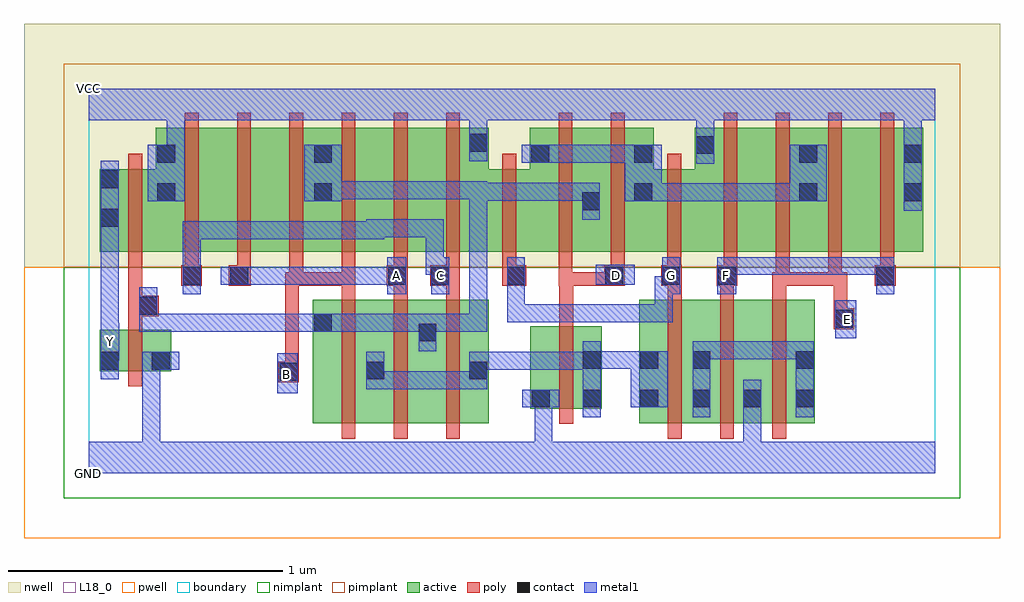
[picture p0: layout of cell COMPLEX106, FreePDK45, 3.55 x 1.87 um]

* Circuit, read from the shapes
.subckt COMPLEX106 A B C D E F G GND VCC Y
M1 GND n1 Y VSUBS nfet w=0.15u l=0.05u
M2 n2 B n1 VSUBS nfet w=0.45u l=0.05u
M3 n1 A n2 VSUBS nfet w=0.45u l=0.05u
M4 n2 C n1 VSUBS nfet w=0.45u l=0.05u
M5 n2 D GND VSUBS nfet w=0.3u l=0.05u
M6 n3 G n2 VSUBS nfet w=0.45u l=0.05u
M7 GND F n3 VSUBS nfet w=0.45u l=0.05u
M8 n3 E GND VSUBS nfet w=0.45u l=0.05u
M9 VCC n1 Y n4 pfet w=0.3u l=0.05u
M10 n5 C VCC n4 pfet w=0.45u l=0.05u
M11 n6 A n5 n4 pfet w=0.45u l=0.05u
M12 n1 B n6 n4 pfet w=0.45u l=0.05u
M13 n7 B n1 n4 pfet w=0.45u l=0.05u
M14 n8 A n7 n4 pfet w=0.45u l=0.05u
M15 VCC C n8 n4 pfet w=0.45u l=0.05u
M16 n9 G VCC n4 pfet w=0.3u l=0.05u m=2
M17 n1 D n9 n4 pfet w=0.45u l=0.05u m=2
M18 n10 F VCC n4 pfet w=0.45u l=0.05u
M19 n9 E n10 n4 pfet w=0.45u l=0.05u
M20 n11 E n9 n4 pfet w=0.45u l=0.05u
M21 VCC F n11 n4 pfet w=0.45u l=0.05u
.ends

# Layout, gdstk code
import gdstk
lib = gdstk.Library(unit=1e-6, precision=1e-09)
def R(c, l, rs):  # rectangles x0, y0, x1, y1
    for r in rs: c.add(gdstk.rectangle(r[:2], r[2:], *l))
def A(c, l, x, y, w, h, nx, ny, dx, dy):  # array of equal rectangles
    R(c, l, [(x+i*dx, y+j*dy, x+i*dx+w, y+j*dy+h) for i in range(nx) for j in range(ny)])
active = (1, 0)
pwell = (2, 0)
nwell = (3, 0)
nimplant = (4, 0)
pimplant = (5, 0)
poly = (9, 0)
contact = (10, 0)
metal1 = (11, 0)
L18_0 = (18, 0)
boundary = (235, 0)

complex106 = lib.new_cell('COMPLEX106')
R(complex106, active, [(0.815,0.182,1.08,0.632), (1.005,0.182,1.27,0.632), (1.195,0.182,1.455,0.632), (2.002,0.182,2.267,0.632), (2.192,0.182,2.452,0.632), (2.377,0.182,2.642,0.632), (2.377,0.182,2.452,0.542), (0.815,0.2,0.89,0.632), (1.005,0.2,1.08,0.542), (1.38,0.2,1.455,0.632), (2.002,0.2,2.077,0.632), (2.192,0.2,2.267,0.542), (2.567,0.2,2.642,0.632), (1.607,0.235,1.867,0.535), (1.607,0.235,1.682,0.392), (1.792,0.235,1.867,0.535), (1.195,0.245,1.27,0.55), (0.04,0.372,0.115,0.522), (0.04,0.372,0.3,0.522), (0.225,0.372,0.3,0.522), (0.04,0.807,0.115,1.107), (0.04,0.807,0.32,1.107), (0.245,0.807,0.47,1.257), (0.245,0.807,0.32,1.2), (0.47,0.807,0.66,1.257), (0.66,0.807,0.89,1.257), (0.815,0.807,1.04,1.257), (0.815,0.807,0.89,1.2), (1.04,0.807,1.23,1.257), (1.23,0.807,1.455,1.257), (1.38,0.807,1.68,1.107), (1.605,0.807,1.865,1.257), (1.605,0.807,1.68,1.2), (1.79,0.807,2.055,1.257), (1.79,0.807,1.865,1.07), (1.98,0.807,2.055,1.2), (1.98,0.807,2.28,1.107), (2.205,0.807,2.43,1.257), (2.43,0.807,2.655,1.257), (2.58,0.807,2.81,1.257), (2.58,0.807,2.655,1.2), (2.81,0.807,3.035,1.257), (2.96,0.807,3.035,1.257), (1.38,0.852,1.455,1.24), (2.205,0.852,2.28,1.257)])
R(complex106, pwell, [(-0.235,-0.235,3.315,0.75)])
R(complex106, nwell, [(-0.235,0.75,3.315,1.635)])
R(complex106, nimplant, [(-0.09,-0.09,3.17,0.75)])
R(complex106, pimplant, [(-0.09,0.75,3.17,1.49)])
A(complex106, poly, 0.92, 0.127, 0.05, 0.56, 3, 1, 0.19, 0)
A(complex106, poly, 2.107, 0.127, 0.05, 0.56, 3, 1, 0.19, 0)
A(complex106, poly, 0.92, 0.637, 0.05, 0.095, 3, 1, 0.19, 0)
A(complex106, poly, 2.107, 0.637, 0.05, 0.095, 3, 1, 0.19, 0)
A(complex106, poly, 0.92, 0.682, 0.05, 0.12, 3, 1, 0.79, 0)
A(complex106, poly, 1.9, 0.707, 0.05, 0.095, 3, 1, 0.205, 0)
A(complex106, poly, 0.35, 0.752, 0.05, 0.56, 6, 1, 0.19, 0)
A(complex106, poly, 2.31, 0.752, 0.05, 0.56, 4, 1, 0.19, 0)
R(complex106, poly, [(1.712,0.18,1.762,0.59), (0.145,0.317,0.195,0.577), (0.69,0.332,0.765,0.407), (0.715,0.357,0.765,0.732), (2.71,0.525,2.785,0.6), (0.145,0.527,0.195,0.622), (1.712,0.54,1.762,0.732), (2.71,0.55,2.76,0.732), (0.145,0.572,0.255,0.647), (0.145,0.597,0.195,0.802), (0.337,0.682,0.412,0.757), (0.51,0.682,0.59,0.757), (0.715,0.682,0.765,0.732), (0.715,0.682,0.765,0.732), (0.715,0.682,0.78,0.732), (0.73,0.682,0.78,0.802), (0.73,0.682,0.78,0.732), (0.73,0.682,0.78,0.732), (0.73,0.682,0.97,0.732), (0.92,0.682,0.97,0.732), (1.085,0.682,1.16,0.757), (1.242,0.682,1.35,0.757), (1.505,0.682,1.592,0.757), (1.71,0.682,1.762,0.732), (1.712,0.682,1.925,0.732), (1.875,0.682,1.95,0.757), (1.875,0.682,1.925,0.732), (1.875,0.682,1.925,0.732), (2.082,0.682,2.157,0.757), (2.285,0.682,2.36,0.757), (2.487,0.682,2.55,0.732), (2.5,0.682,2.74,0.732), (2.69,0.682,2.74,0.802), (2.69,0.682,2.74,0.732), (2.69,0.682,2.74,0.732), (2.69,0.682,2.74,0.732), (2.69,0.682,2.74,0.732), (2.69,0.682,2.76,0.732), (2.86,0.682,2.935,0.757), (0.35,0.707,0.4,0.802), (0.54,0.707,0.59,0.802), (1.11,0.707,1.16,0.802), (1.3,0.707,1.35,0.802), (1.505,0.707,1.555,0.802), (2.88,0.707,2.93,0.802), (0.145,0.752,0.195,1.162), (1.505,0.752,1.555,1.162), (1.71,0.752,1.76,1.312), (1.9,0.752,1.95,1.312), (2.105,0.752,2.155,1.162)])
R(complex106, contact, [(1.612,0.24,1.677,0.305), (1.797,0.24,1.862,0.305), (2.007,0.24,2.072,0.305), (2.197,0.24,2.262,0.305), (2.382,0.24,2.447,0.305), (2.572,0.24,2.637,0.305), (0.695,0.337,0.76,0.402), (1.01,0.342,1.075,0.407), (1.385,0.342,1.45,0.407), (0.045,0.377,0.11,0.442), (0.23,0.377,0.295,0.442), (1.797,0.38,1.862,0.445), (2.007,0.38,2.072,0.445), (2.197,0.38,2.262,0.445), (2.572,0.38,2.637,0.445), (1.2,0.48,1.265,0.545), (0.82,0.515,0.885,0.58), (2.715,0.53,2.78,0.595), (0.185,0.577,0.25,0.642), (0.342,0.687,0.407,0.752), (0.515,0.687,0.58,0.752), (1.09,0.687,1.155,0.752), (1.247,0.687,1.312,0.752), (1.522,0.687,1.587,0.752), (1.88,0.687,1.945,0.752), (2.087,0.687,2.152,0.752), (2.29,0.687,2.355,0.752), (2.865,0.687,2.93,0.752), (0.045,0.897,0.11,0.962), (1.795,0.957,1.86,1.022), (0.25,0.99,0.315,1.055), (0.82,0.99,0.885,1.055), (1.985,0.99,2.05,1.055), (2.585,0.99,2.65,1.055), (2.965,0.99,3.03,1.055), (0.045,1.037,0.11,1.102), (0.25,1.13,0.315,1.195), (0.82,1.13,0.885,1.195), (1.61,1.13,1.675,1.195), (1.985,1.13,2.05,1.195), (2.585,1.13,2.65,1.195), (2.965,1.13,3.03,1.195), (2.21,1.162,2.275,1.227), (1.385,1.17,1.45,1.235)])
R(complex106, metal1, [(0,0,3.08,0.115), (0.195,0.05,0.26,0.115), (0.195,0.05,0.26,0.115), (0.195,0.05,0.26,0.442), (1.622,0.05,1.687,0.115), (1.622,0.05,1.687,0.115), (1.622,0.05,1.687,0.305), (2.382,0.05,2.447,0.115), (2.382,0.05,2.447,0.115), (2.382,0.05,2.447,0.27), (1.797,0.205,1.862,0.48), (2.197,0.205,2.262,0.48), (2.382,0.205,2.447,0.34), (2.572,0.205,2.637,0.48), (1.577,0.24,1.712,0.305), (1.622,0.24,1.687,0.305), (1.622,0.24,1.687,0.305), (1.972,0.24,2.107,0.445), (0.687,0.292,0.76,0.437), (1.01,0.307,1.075,0.442), (1.01,0.307,1.075,0.372), (1.01,0.307,1.075,0.372), (1.01,0.307,1.292,0.372), (1.227,0.307,1.292,0.372), (1.227,0.307,1.292,0.372), (1.227,0.307,1.292,0.372), (1.227,0.307,1.45,0.372), (1.385,0.307,1.45,0.442), (0.045,0.342,0.11,0.477), (0.195,0.377,0.26,0.442), (0.195,0.377,0.26,0.442), (0.195,0.377,0.26,0.442), (0.195,0.377,0.26,0.442), (0.195,0.377,0.33,0.442), (1.385,0.377,1.587,0.442), (1.522,0.377,1.587,0.442), (1.522,0.377,1.587,0.442), (1.522,0.377,1.587,0.442), (1.522,0.377,1.725,0.442), (1.66,0.377,1.725,0.442), (1.66,0.377,1.862,0.442), (1.797,0.38,1.862,0.445), (1.797,0.38,1.862,0.445), (1.797,0.38,2.037,0.445), (0.045,0.412,0.11,0.477), (0.045,0.412,0.112,0.547), (2.197,0.415,2.477,0.48), (2.412,0.415,2.477,0.48), (2.412,0.415,2.477,0.48), (2.412,0.415,2.477,0.48), (2.412,0.415,2.637,0.48), (2.572,0.415,2.637,0.48), (2.572,0.415,2.637,0.48), (1.2,0.445,1.265,0.58), (0.045,0.482,0.11,0.927), (2.715,0.492,2.792,0.63), (0.185,0.515,0.25,0.58), (0.185,0.515,0.387,0.58), (0.185,0.515,0.25,0.607), (0.322,0.515,0.387,0.58), (0.322,0.515,0.387,0.58), (0.322,0.515,0.387,0.58), (0.322,0.515,0.615,0.58), (0.55,0.515,0.615,0.58), (0.55,0.515,0.615,0.58), (0.55,0.515,0.615,0.58), (0.55,0.515,0.762,0.58), (0.697,0.515,0.762,0.58), (0.697,0.515,0.85,0.58), (0.785,0.515,0.92,0.58), (0.855,0.515,0.92,0.58), (0.855,0.515,0.92,0.58), (0.855,0.515,1.127,0.58), (1.062,0.515,1.127,0.58), (1.062,0.515,1.127,0.58), (1.062,0.515,1.127,0.58), (1.062,0.515,1.265,0.58), (1.2,0.515,1.45,0.58), (1.385,0.515,1.45,0.58), (1.385,0.515,1.45,0.58), (1.385,0.515,1.45,0.58), (1.385,0.515,1.45,0.58), (1.385,0.515,1.45,0.58), (1.385,0.515,1.45,1.057), (0.185,0.542,0.25,0.677), (0.185,0.542,0.25,0.607), (0.185,0.542,0.25,0.607), (1.522,0.55,1.587,0.615), (1.522,0.55,1.725,0.615), (1.522,0.55,1.587,0.717), (1.66,0.55,1.725,0.615), (1.66,0.55,1.877,0.615), (1.812,0.55,1.877,0.615), (1.812,0.55,1.965,0.615), (1.9,0.55,1.965,0.615), (1.9,0.55,2.125,0.615), (2.06,0.55,2.125,0.615), (2.06,0.55,2.125,0.717), (0.342,0.652,0.407,0.787), (1.087,0.652,1.155,0.787), (1.247,0.652,1.312,0.787), (1.522,0.652,1.587,0.787), (1.522,0.652,1.587,0.717), (1.522,0.652,1.587,0.717), (2.06,0.652,2.125,0.717), (2.06,0.652,2.152,0.717), (2.087,0.652,2.152,0.787), (2.287,0.652,2.355,0.787), (2.865,0.652,2.93,0.787), (0.48,0.687,0.615,0.752), (0.55,0.687,0.615,0.752), (0.55,0.687,0.615,0.752), (0.55,0.687,0.782,0.752), (0.717,0.687,0.782,0.752), (0.717,0.687,0.782,0.752), (0.717,0.687,0.782,0.752), (0.717,0.687,0.92,0.752), (0.855,0.687,0.92,0.752), (0.855,0.687,1.057,0.752), (0.992,0.687,1.057,0.752), (0.992,0.687,1.152,0.752), (1.845,0.687,1.987,0.76), (0.342,0.722,0.407,0.787), (0.342,0.722,0.407,0.787), (0.342,0.722,0.407,0.917), (1.227,0.722,1.292,0.787), (1.227,0.722,1.312,0.787), (1.227,0.722,1.292,0.925), (2.29,0.722,2.455,0.787), (2.39,0.722,2.455,0.787), (2.39,0.722,2.615,0.787), (2.55,0.722,2.615,0.787), (2.55,0.722,2.615,0.787), (2.55,0.722,2.615,0.787), (2.55,0.722,2.775,0.787), (2.71,0.722,2.93,0.787), (2.71,0.722,2.775,0.787), (2.71,0.722,2.775,0.787), (2.71,0.722,2.775,0.787), (0.342,0.852,0.407,0.917), (0.342,0.852,0.545,0.917), (0.48,0.852,0.545,0.917), (0.48,0.852,0.545,0.917), (0.48,0.852,0.545,0.917), (0.48,0.852,0.782,0.917), (0.717,0.852,0.937,0.917), (0.717,0.852,0.782,0.917), (0.717,0.852,0.782,0.917), (0.717,0.852,0.782,0.917), (0.872,0.852,0.937,0.917), (0.872,0.852,1.075,0.917), (1.01,0.852,1.075,0.925), (1.01,0.86,1.075,0.925), (1.01,0.86,1.075,0.925), (1.01,0.86,1.292,0.925), (1.227,0.86,1.292,0.925), (0.045,0.862,0.11,1.137), (1.795,0.922,1.86,1.057), (2.965,0.955,3.03,1.23), (0.215,0.99,0.35,1.195), (0.785,0.99,0.92,1.195), (1.95,0.99,2.085,1.195), (2.02,0.99,2.085,1.055), (2.02,0.99,2.085,1.055), (2.02,0.99,2.125,1.055), (2.06,0.99,2.125,1.055), (2.06,0.99,2.262,1.055), (2.197,0.99,2.262,1.055), (2.197,0.99,2.262,1.055), (2.197,0.99,2.262,1.055), (2.197,0.99,2.4,1.055), (2.335,0.99,2.4,1.055), (2.335,0.99,2.615,1.055), (2.55,0.99,2.615,1.055), (2.55,0.99,2.615,1.055), (2.55,0.99,2.685,1.195), (1.385,0.992,1.45,1.057), (1.385,0.992,1.45,1.057), (1.385,0.992,1.587,1.057), (1.385,0.992,1.45,1.062), (1.522,0.992,1.587,1.057), (1.522,0.992,1.587,1.057), (1.522,0.992,1.587,1.057), (1.522,0.992,1.725,1.057), (1.66,0.992,1.725,1.057), (1.66,0.992,1.86,1.057), (0.855,0.997,1.075,1.062), (0.855,0.997,0.92,1.062), (0.855,0.997,0.92,1.062), (1.01,0.997,1.075,1.062), (1.01,0.997,1.075,1.062), (1.01,0.997,1.075,1.062), (1.01,0.997,1.292,1.062), (1.227,0.997,1.292,1.062), (1.227,0.997,1.292,1.062), (1.227,0.997,1.292,1.062), (1.227,0.997,1.45,1.062), (2.21,1.127,2.275,1.262), (0.285,1.13,0.35,1.35), (1.575,1.13,1.71,1.195), (1.645,1.13,1.725,1.195), (1.66,1.13,1.725,1.195), (1.66,1.13,1.877,1.195), (1.812,1.13,1.877,1.195), (1.812,1.13,1.877,1.195), (1.812,1.13,1.877,1.195), (1.812,1.13,2.015,1.195), (1.385,1.135,1.45,1.27), (2.965,1.165,3.03,1.35), (2.21,1.197,2.275,1.35), (1.385,1.205,1.45,1.35), (0,1.285,3.08,1.4)])
A(complex106, L18_0, 1.887, 0.687, 0.065, 0.065, 3, 1, 0.2, 0)
R(complex106, L18_0, [(0,0,3.08,0.115), (0.195,0.05,0.26,0.115), (0.195,0.05,0.26,0.115), (0.195,0.05,0.26,0.442), (1.622,0.05,1.687,0.115), (1.622,0.05,1.687,0.115), (1.622,0.05,1.687,0.305), (2.382,0.05,2.447,0.115), (2.382,0.05,2.447,0.115), (2.382,0.05,2.447,0.27), (2.382,0.205,2.447,0.34), (1.577,0.24,1.712,0.305), (1.622,0.24,1.687,0.305), (1.622,0.24,1.687,0.305), (0.687,0.292,0.76,0.437), (0.687,0.327,0.752,0.392), (0.045,0.342,0.11,0.477), (0.195,0.377,0.26,0.442), (0.195,0.377,0.26,0.442), (0.195,0.377,0.26,0.442), (0.195,0.377,0.26,0.442), (0.195,0.377,0.33,0.442), (0.045,0.412,0.112,0.547), (0.045,0.412,0.11,0.477), (0.047,0.447,0.112,0.512), (0.045,0.482,0.11,0.927), (2.715,0.492,2.792,0.63), (2.727,0.527,2.792,0.592), (1.522,0.55,1.587,0.615), (1.522,0.55,1.725,0.615), (1.522,0.55,1.587,0.717), (1.66,0.55,1.725,0.615), (1.66,0.55,1.877,0.615), (1.812,0.55,1.877,0.615), (1.812,0.55,1.965,0.615), (1.9,0.55,1.965,0.615), (1.9,0.55,2.125,0.615), (2.06,0.55,2.125,0.615), (2.06,0.55,2.125,0.717), (0.342,0.652,0.407,0.787), (1.087,0.652,1.155,0.787), (1.247,0.652,1.312,0.787), (1.522,0.652,1.587,0.787), (1.522,0.652,1.587,0.717), (1.522,0.652,1.587,0.717), (2.06,0.652,2.125,0.717), (2.06,0.652,2.152,0.717), (2.087,0.652,2.152,0.787), (2.287,0.652,2.355,0.787), (2.865,0.652,2.93,0.787), (0.48,0.687,0.615,0.752), (0.55,0.687,0.615,0.752), (0.55,0.687,0.615,0.752), (0.55,0.687,0.782,0.752), (0.717,0.687,0.782,0.752), (0.717,0.687,0.782,0.752), (0.717,0.687,0.782,0.752), (0.717,0.687,0.92,0.752), (0.855,0.687,0.92,0.752), (0.855,0.687,1.057,0.752), (0.992,0.687,1.057,0.752), (0.992,0.687,1.152,0.752), (1.087,0.687,1.152,0.752), (1.247,0.687,1.312,0.752), (1.845,0.687,1.987,0.76), (0.342,0.722,0.407,0.787), (0.342,0.722,0.407,0.787), (0.342,0.722,0.407,0.917), (1.227,0.722,1.292,0.787), (1.227,0.722,1.292,0.925), (1.227,0.722,1.312,0.787), (2.29,0.722,2.455,0.787), (2.39,0.722,2.455,0.787), (2.39,0.722,2.615,0.787), (2.55,0.722,2.615,0.787), (2.55,0.722,2.615,0.787), (2.55,0.722,2.615,0.787), (2.55,0.722,2.775,0.787), (2.71,0.722,2.775,0.787), (2.71,0.722,2.775,0.787), (2.71,0.722,2.775,0.787), (2.71,0.722,2.93,0.787), (0.342,0.852,0.407,0.917), (0.342,0.852,0.545,0.917), (0.48,0.852,0.545,0.917), (0.48,0.852,0.545,0.917), (0.48,0.852,0.545,0.917), (0.48,0.852,0.782,0.917), (0.717,0.852,0.782,0.917), (0.717,0.852,0.782,0.917), (0.717,0.852,0.782,0.917), (0.717,0.852,0.937,0.917), (0.872,0.852,0.937,0.917), (0.872,0.852,1.075,0.917), (1.01,0.852,1.075,0.925), (1.01,0.86,1.075,0.925), (1.01,0.86,1.075,0.925), (1.01,0.86,1.292,0.925), (1.227,0.86,1.292,0.925), (0.045,0.862,0.11,1.137), (2.965,0.955,3.03,1.23), (0.215,0.99,0.35,1.195), (2.21,1.127,2.275,1.262), (0.285,1.13,0.35,1.35), (1.385,1.135,1.45,1.27), (2.965,1.165,3.03,1.35), (2.21,1.197,2.275,1.35), (1.385,1.205,1.45,1.35), (0,1.285,3.08,1.4)])
R(complex106, boundary, [(0,0,3.08,1.4)])
complex106.add(gdstk.Label('A', (1.12,0.72), layer=11, texttype=0))
complex106.add(gdstk.Label('B', (0.72,0.36), layer=11, texttype=0))
complex106.add(gdstk.Label('C', (1.28,0.72), layer=11, texttype=0))
complex106.add(gdstk.Label('D', (1.92,0.72), layer=11, texttype=0))
complex106.add(gdstk.Label('E', (2.76,0.56), layer=11, texttype=0))
complex106.add(gdstk.Label('F', (2.32,0.72), layer=11, texttype=0))
complex106.add(gdstk.Label('G', (2.12,0.72), layer=11, texttype=0))
complex106.add(gdstk.Label('Y', (0.08,0.48), layer=11, texttype=0))
complex106.add(gdstk.Label('VCC', (0,1.4), layer=11, texttype=0))
complex106.add(gdstk.Label('GND', (0,0), layer=11, texttype=0))

lib.write_gds('COMPLEX106.gds')
